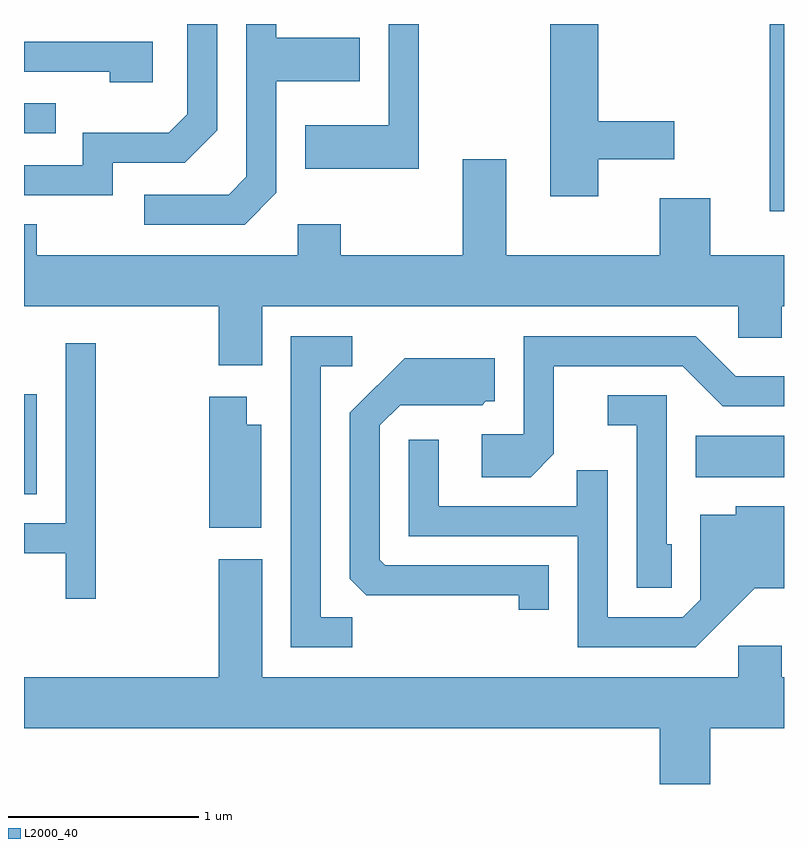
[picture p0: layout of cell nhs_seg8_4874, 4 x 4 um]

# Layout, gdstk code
import gdstk
lib = gdstk.Library(unit=1e-6, precision=1e-09)
def R(c, l, rs):  # rectangles x0, y0, x1, y1
    for r in rs: c.add(gdstk.rectangle(r[:2], r[2:], *l))
def P(c, l, *ps):  # polygons
    for p in ps: c.add(gdstk.Polygon(p, *l))
L2000_40 = (2000, 40)

nhs_seg8_4874 = lib.new_cell('nhs_seg8_4874')
R(nhs_seg8_4874, L2000_40, [(331.611,1839.866,331.679,1840.394), (335.146,1839.956,335.611,1840.174), (335.536,1841.356,335.611,1842.342), (331.611,1841.766,331.778,1841.924)])
P(nhs_seg8_4874, L2000_40, [(334.634,1841.631),(335.034,1841.631),(335.034,1841.829),(334.634,1841.829),(334.634,1842.342),(334.381,1842.342),(334.381,1841.436),(334.634,1841.436)],
  [(333.689,1842.342),(333.531,1842.342),(333.531,1841.809),(333.091,1841.809),(333.091,1841.581),(333.689,1841.581)],
  [(332.079,1841.611),(332.457,1841.611),(332.629,1841.784),(332.629,1842.342),(332.471,1842.342),(332.471,1841.867),(332.374,1841.769),(331.921,1841.769),(331.921,1841.599),(331.611,1841.599),(331.611,1841.441),(332.079,1841.441)],
  [(332.939,1841.454),(332.939,1842.041),(333.379,1842.041),(333.379,1842.269),(332.939,1842.269),(332.939,1842.342),(332.781,1842.342),(332.781,1841.537),(332.689,1841.444),(332.243,1841.444),(332.243,1841.286),(332.772,1841.286)],
  [(332.289,1842.249),(331.611,1842.249),(331.611,1842.091),(332.061,1842.091),(332.061,1842.036),(332.289,1842.036)],
  [(332.864,1840.856),(335.371,1840.856),(335.371,1840.691),(335.599,1840.691),(335.599,1840.856),(335.611,1840.856),(335.611,1841.124),(335.224,1841.124),(335.224,1841.424),(334.956,1841.424),(334.956,1841.124),(334.149,1841.124),(334.149,1841.629),(333.921,1841.629),(333.921,1841.124),(333.279,1841.124),(333.279,1841.289),(333.051,1841.289),(333.051,1841.124),(331.679,1841.124),(331.679,1841.289),(331.611,1841.289),(331.611,1840.856),(332.636,1840.856),(332.636,1840.546),(332.864,1840.546)],
  [(333.338,1839.219),(333.174,1839.219),(333.174,1840.541),(333.338,1840.541),(333.338,1840.699),(333.016,1840.699),(333.016,1839.061),(333.338,1839.061)],
  [(334.399,1840.079),(334.399,1840.541),(335.079,1840.541),(335.289,1840.331),(335.611,1840.331),(335.611,1840.489),(335.357,1840.489),(335.147,1840.699),(334.241,1840.699),(334.241,1840.184),(334.021,1840.184),(334.021,1839.956),(334.277,1839.956)],
  [(331.989,1840.663),(331.831,1840.663),(331.831,1839.714),(331.611,1839.714),(331.611,1839.556),(331.831,1839.556),(331.831,1839.318),(331.989,1839.318)],
  [(334.374,1839.494),(333.512,1839.494),(333.484,1839.522),(333.484,1840.229),(333.592,1840.336),(334.022,1840.336),(334.042,1840.356),(334.089,1840.356),(334.089,1840.584),(333.614,1840.584),(333.326,1840.297),(333.326,1839.422),(333.412,1839.336),(334.216,1839.336),(334.216,1839.258),(334.374,1839.258)],
  [(335.019,1839.604),(334.994,1839.604),(334.994,1840.389),(334.683,1840.389),(334.683,1840.231),(334.836,1840.231),(334.836,1839.376),(335.019,1839.376)],
  [(332.859,1840.234),(332.784,1840.234),(332.784,1840.379),(332.586,1840.379),(332.586,1839.691),(332.859,1839.691)],
  [(335.457,1839.371),(335.611,1839.371),(335.611,1839.804),(335.356,1839.804),(335.356,1839.759),(335.171,1839.759),(335.171,1839.312),(335.079,1839.219),(334.684,1839.219),(334.684,1839.993),(334.521,1839.993),(334.521,1839.804),(333.794,1839.804),(333.794,1840.153),(333.636,1840.153),(333.636,1839.646),(334.526,1839.646),(334.526,1839.061),(335.147,1839.061)],
  [(335.224,1838.636),(335.611,1838.636),(335.611,1838.904),(335.599,1838.904),(335.599,1839.069),(335.371,1839.069),(335.371,1838.904),(332.864,1838.904),(332.864,1839.524),(332.636,1839.524),(332.636,1838.904),(331.611,1838.904),(331.611,1838.636),(334.956,1838.636),(334.956,1838.342),(335.224,1838.342)])

lib.write_gds('nhs_seg8_4874.gds')
